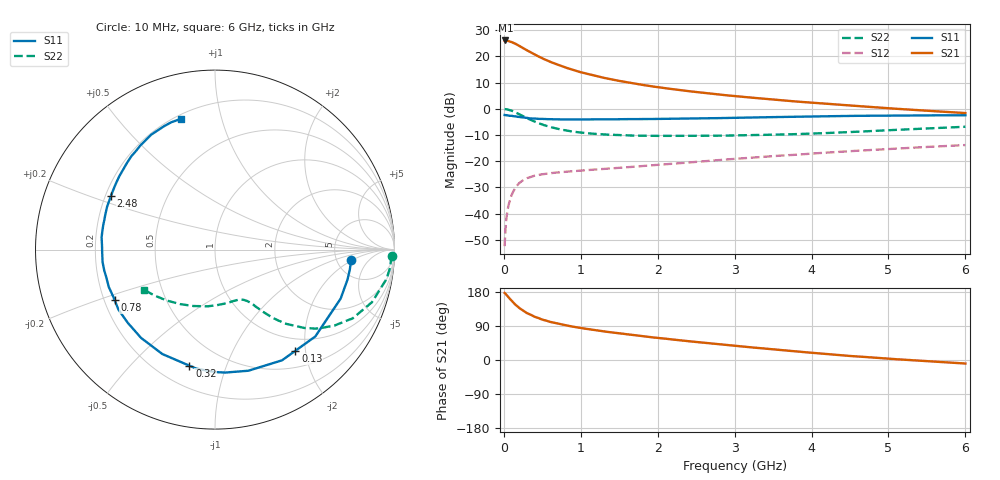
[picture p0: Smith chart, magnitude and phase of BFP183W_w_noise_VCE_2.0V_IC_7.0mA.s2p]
! Infineon Technologies  Discrete & RF Semiconductors
! BFP183W
! VCE = 2.0 V,  IC =  7.0 mA
! Common Emitter S-Parameters:  Jan 2016
# GHz  S  MA  R  50
!  f  S11  S21  S12  S22
! GHz  MAG  ANG  MAG  ANG  MAG  ANG  MAG  ANG
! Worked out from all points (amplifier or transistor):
!   210 points, 10 MHz to 6 GHz, reference 50 ohm
!   highest |S21| = 26.1 dB at 20 MHz (marker M1)
!   |S21| within 3 dB of that: start of sweep to 256.8 MHz
!   unconditionally stable (mu >= 1): 1.512 GHz to 5.458 GHz
!   at 185 MHz: K = 0.18, MSG = 26.5 dB, |S12| = -28.8 dB
!   at 1.52 GHz: K = 1.00, MAG = 16.2 dB, |S12| = -22.5 dB
!   at 6 GHz: K = 0.98, MSG = 6.1 dB, |S12| = -13.8 dB
!   lowest NFmin = 1.25 dB at 450 MHz
!   S11 on the Smith chart (normalised r, x): 10 MHz: 6.88, -1.82; 130 MHz: 0.77, -1.81; 320 MHz: 0.33, -0.75; 780 MHz: 0.24, -0.22; 2.48 GHz: 0.22, +0.23; 6 GHz: 0.22, +0.75
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0.01  0.7611 -4.2  19.97 176.9  0.0024 90.5  0.9867 -2.0
0.02  0.7593 -8.5  20.08 175.2  0.0047 82.2  0.9817 -3.9
0.05  0.7514 -21.3  19.78 167.8  0.0121 78.6  0.9692 -9.8
0.1  0.7394 -40.9  18.75 156.5  0.0225 70.3  0.9219 -18.6
0.13  0.7199 -51.5  17.89 150.4  0.0277 64.7  0.8813 -23.2
0.15  0.7211 -58.8  17.43 146.1  0.0313 62.0  0.8577 -26.5
0.2  0.7 -74.6  15.89 137.3  0.0383 55.8  0.788 -32.5
0.26  0.6825 -89.9  14.13 129.0  0.0443 49.3  0.7102 -38.3
0.3  0.6712 -99.0  13.04 123.8  0.0475 46.0  0.6616 -41.3
0.32  0.6622 -102.4  12.57 122.1  0.0486 44.7  0.6422 -42.2
0.4  0.6516 -116.8  10.83 114.1  0.053 40.1  0.5668 -46.6
0.5  0.6416 -130.0  9.154 106.6  0.0564 36.9  0.4988 -49.7
0.6  0.6345 -140.0  7.873 100.7  0.0591 34.9  0.4498 -51.8
0.78  0.6257 -153.4  6.281 92.5  0.0625 33.4  0.3925 -54.3
1.02  0.6251 -165.9  4.894 83.9  0.0664 33.4  0.3492 -56.9
1.4  0.6289 179.7  3.631 72.8  0.0731 35.2  0.3192 -61.1
2.02  0.6411 162.7  2.561 57.9  0.0856 38.9  0.3043 -70.2
2.48  0.6525 152.6  2.103 48.0  0.0966 40.4  0.3047 -78.3
3.1  0.6758 140.4  1.692 35.7  0.1136 41.2  0.3115 -90.7
4.1  0.7165 124.3  1.278 17.6  0.143 39.7  0.3405 -113.5
5.1  0.7438 112.4  1.001 2.1  0.1741 35.9  0.3962 -135.4
6  0.7529 104.5  0.829 -9.3  0.2034 31.8  0.4543 -150.5
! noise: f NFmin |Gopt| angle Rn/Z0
0.45  1.25  0.18  42  0.22
0.9  1.3  0.22  110  0.2
1.8  2  0.33  180  0.14
